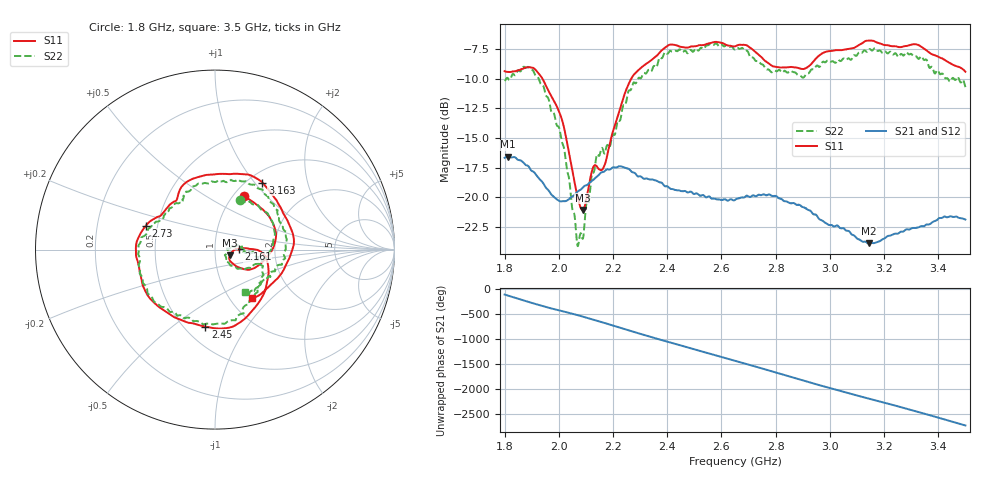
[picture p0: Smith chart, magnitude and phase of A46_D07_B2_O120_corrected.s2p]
! Created with skrf 1.9.0 (http://scikit-rf.org).
# Hz S RI R 50.0
!freq ReS11 ImS11 ReS21 ImS21 ReS12 ImS12 ReS22 ImS22
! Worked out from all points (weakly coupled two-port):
!   1601 points, 1.8 GHz to 3.5 GHz, reference 50 ohm
!   highest |S21| = -16.58 dB at 1.812 GHz (marker M1); lowest = -23.9 dB at 3.144 GHz (marker M2)
!   lowest |S11| = -21.1 dB at 2.088 GHz (marker M3), VSWR 1.19, Z = 58.8 - j3.83 ohm
!   |S11| at or under -10 dB: 1.94 GHz to 2.267 GHz (326.6 MHz wide, 15.5 % of centre)
!   |S22| runs from -24.1 to -7.0 dB; largest |S21 - S12| = 0.0027
!   S11 on the Smith chart (normalised r, x): 1.8 GHz: 1.12, +0.76; 2.161 GHz: 1.30, +0.01; 2.45 GHz: 0.63, -0.66; 2.73 GHz: 0.43, +0.14; 3.163 GHz: 1.16, +1.10; 3.5 GHz: 1.26, -0.77
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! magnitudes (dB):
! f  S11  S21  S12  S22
! 1.8 GHz  -9.3  -16.7  -16.7  -10.2
! 1.812 GHz  -9.4  -16.6  -16.6  -9.9
! 1.886 GHz  -9.0  -17.3  -17.4  -9.0
! 1.942 GHz  -10.1  -18.8  -18.8  -10.6
! 2.011 GHz  -13.4  -20.3  -20.3  -15.3
! 2.067 GHz  -19.7  -19.6  -19.6  -23.8
! 2.084 GHz  -21.0  -19.3  -19.3  -23.2
! 2.088 GHz  -21.1  -19.2  -19.2  -23.5
! 2.127 GHz  -17.4  -18.5  -18.5  -17.9
! 2.161 GHz  -17.6  -17.9  -17.8  -15.9
! 2.262 GHz  -10.2  -17.7  -17.7  -11.0
! 2.367 GHz  -7.9  -18.7  -18.7  -8.5
! 2.45 GHz  -7.3  -19.5  -19.5  -7.6
! 2.65 GHz  -7.2  -20.2  -20.2  -7.5
! 2.73 GHz  -7.8  -19.9  -19.9  -8.5
! 2.799 GHz  -9.0  -19.9  -19.9  -9.3
! 2.934 GHz  -8.7  -21.3  -21.3  -9.2
! 3.144 GHz  -6.8  -23.9  -23.8  -7.5
! 3.163 GHz  -6.8  -23.9  -23.9  -7.4
! 3.217 GHz  -7.2  -23.3  -23.2  -7.8
! 3.324 GHz  -7.1  -22.6  -22.6  -8.2
! 3.5 GHz  -9.4  -21.9  -21.9  -10.7
